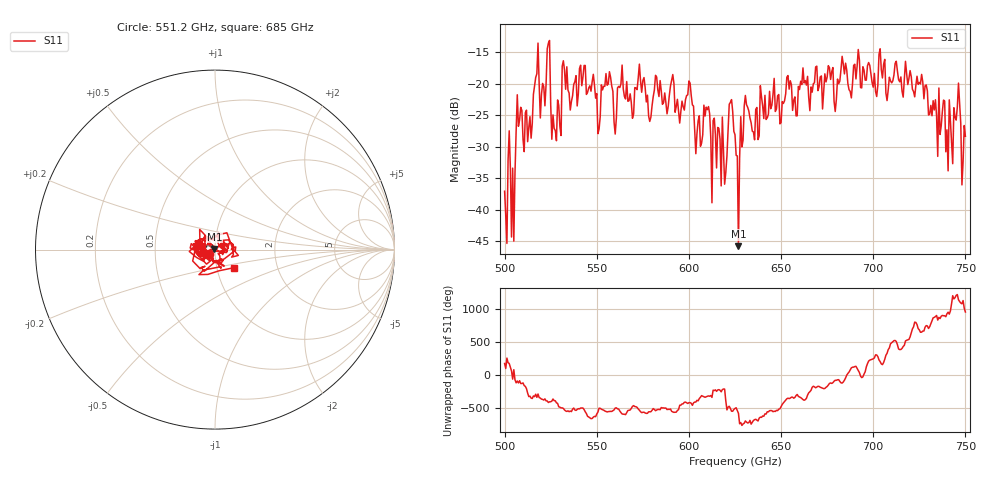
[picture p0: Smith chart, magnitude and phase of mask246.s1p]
!Created with skrf (http://scikit-rf.org).
# GHz S MA R 50.0
!freq magS11 angS11
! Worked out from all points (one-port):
!   401 points, 500 GHz to 750 GHz, reference 50 ohm
!   lowest |S11| = -45.8 dB at 626.9 GHz (marker M1), VSWR 1.01, Z = 49.6 + j0.35 ohm
!   |S11| at or under -10 dB: start of sweep to end of sweep
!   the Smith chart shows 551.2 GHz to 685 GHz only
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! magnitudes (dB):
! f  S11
! 500 GHz  -37.1
! 505 GHz  -45.0
! 507.5 GHz  -26.7
! 513.8 GHz  -25.2
! 516.9 GHz  -19.0
! 520.6 GHz  -19.9
! 523.8 GHz  -13.5
! 526.9 GHz  -27.1
! 531.2 GHz  -17.2
! 542.5 GHz  -18.9
! 550.6 GHz  -27.9
! 562.5 GHz  -20.6
! 593.8 GHz  -22.5
! 600 GHz  -19.5
! 605 GHz  -25.9
! 609.4 GHz  -23.7
! 618.8 GHz  -30.7
! 622.5 GHz  -22.9
! 625 GHz  -28.1
! 626.9 GHz  -45.8
! 631.2 GHz  -23.3
! 634.4 GHz  -27.5
! 656.2 GHz  -24.2
! 680 GHz  -22.5
! 683.8 GHz  -16.9
! 687.5 GHz  -21.2
! 718.8 GHz  -20.1
! 750 GHz  -28.3
